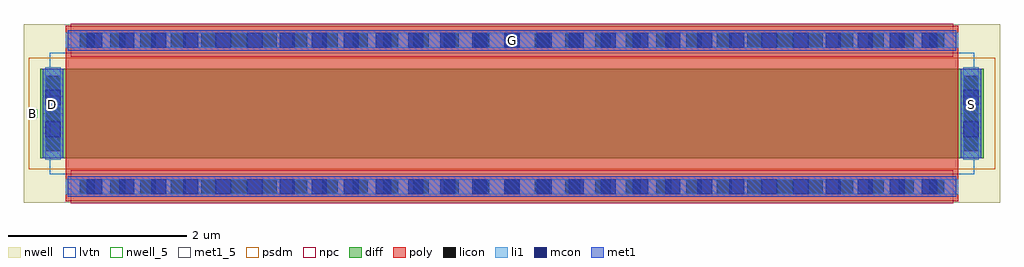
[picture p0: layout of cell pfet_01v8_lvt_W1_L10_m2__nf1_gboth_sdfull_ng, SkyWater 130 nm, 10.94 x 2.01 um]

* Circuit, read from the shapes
.subckt pfet_01v8_lvt_W1_L10_m2__nf1_gboth_sdfull_ng B D G S
XM1 S G D B sky130_fd_pr__pfet_01v8_lvt w=1 l=10
.ends

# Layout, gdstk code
import gdstk
lib = gdstk.Library(unit=1e-6, precision=1e-09)
def R(c, l, rs):  # rectangles x0, y0, x1, y1
    for r in rs: c.add(gdstk.rectangle(r[:2], r[2:], *l))
def A(c, l, x, y, w, h, nx, ny, dx, dy):  # array of equal rectangles
    R(c, l, [(x+i*dx, y+j*dy, x+i*dx+w, y+j*dy+h) for i in range(nx) for j in range(ny)])
nwell_5 = (64, 5)
nwell = (64, 20)
diff = (65, 20)
poly = (66, 20)
licon = (66, 44)
li1 = (67, 20)
mcon = (67, 44)
met1_5 = (68, 5)
met1 = (68, 20)
psdm = (94, 20)
npc = (95, 20)
lvtn = (125, 44)

sky130_fd_pr__pfet_01v8_ = lib.new_cell('sky130_fd_pr__pfet_01v8_lvt_5FXXCR')
R(sky130_fd_pr__pfet_01v8_, nwell, [(-5.47,-1,5.47,1)])
R(sky130_fd_pr__pfet_01v8_, diff, [(-5.29,-0.5,5.29,0.5)])
R(sky130_fd_pr__pfet_01v8_, poly, [(-5,-0.985,5,0.985)])
A(sky130_fd_pr__pfet_01v8_, licon, -4.845, -0.905, 0.17, 0.17, 29, 2, 0.34, 1.64)
A(sky130_fd_pr__pfet_01v8_, licon, -5.23, -0.425, 0.17, 0.17, 1, 3, 0, 0.34)
A(sky130_fd_pr__pfet_01v8_, licon, 5.06, -0.425, 0.17, 0.17, 1, 3, 0, 0.34)
R(sky130_fd_pr__pfet_01v8_, li1, [(-5,-0.905,5,-0.735), (-5.23,-0.52,-5.06,0.52), (5.06,-0.52,5.23,0.52), (-5,0.735,5,0.905)])
A(sky130_fd_pr__pfet_01v8_, mcon, -4.765, -0.905, 0.17, 0.17, 27, 2, 0.36, 1.64)
R(sky130_fd_pr__pfet_01v8_, mcon, [(-5.23,-0.265,-5.06,-0.095), (5.06,-0.265,5.23,-0.095), (-5.23,0.095,-5.06,0.265), (5.06,0.095,5.23,0.265)])
R(sky130_fd_pr__pfet_01v8_, met1, [(-4.98,-0.935,4.98,-0.705), (-5.26,-0.5,-5.03,0.5), (5.03,-0.5,5.26,0.5), (-4.98,0.705,4.98,0.935)])
R(sky130_fd_pr__pfet_01v8_, psdm, [(-5.415,-0.625,5.415,0.625)])
R(sky130_fd_pr__pfet_01v8_, npc, [(-4.945,-1.005,4.945,-0.635), (-4.945,0.635,4.945,1.005)])
R(sky130_fd_pr__pfet_01v8_, lvtn, [(-5.18,-0.68,5.18,0.68)])
sky130_fd_pr__pfet_01v8_.add(gdstk.Label('D', (-5.145,0), layer=67, texttype=5))
sky130_fd_pr__pfet_01v8_.add(gdstk.Label('S', (5.145,0), layer=67, texttype=5))
sky130_fd_pr__pfet_01v8_.add(gdstk.Label('G', (0,0.82), layer=67, texttype=5))

pfet_01v8_lvt_w1_l10_m2_ = lib.new_cell('pfet_01v8_lvt_W1_L10_m2__nf1_gboth_sdfull_ng')
R(pfet_01v8_lvt_w1_l10_m2_, nwell_5, [(0.05,0.95,0.15,1.05)])
R(pfet_01v8_lvt_w1_l10_m2_, nwell, [(0.05,0.95,0.15,1.05)])
R(pfet_01v8_lvt_w1_l10_m2_, met1_5, [(0.21,1,0.44,1.2), (10.5,1,10.73,1.2), (0.49,1.705,10.45,1.935)])
R(pfet_01v8_lvt_w1_l10_m2_, met1, [(0.21,1,0.44,1.2), (10.5,1,10.73,1.2), (0.49,1.705,10.45,1.935)])
pfet_01v8_lvt_w1_l10_m2_.add(gdstk.Reference(sky130_fd_pr__pfet_01v8_, (5.47,1)))
pfet_01v8_lvt_w1_l10_m2_.add(gdstk.Label('D', (0.325,1.1), layer=68, texttype=5))
pfet_01v8_lvt_w1_l10_m2_.add(gdstk.Label('S', (10.615,1.1), layer=68, texttype=5))
pfet_01v8_lvt_w1_l10_m2_.add(gdstk.Label('G', (5.47,1.82), layer=68, texttype=5))
pfet_01v8_lvt_w1_l10_m2_.add(gdstk.Label('B', (0.1,1), layer=64, texttype=5))

lib.write_gds('pfet_01v8_lvt_W1_L10_m2__nf1_gboth_sdfull_ng.gds')
